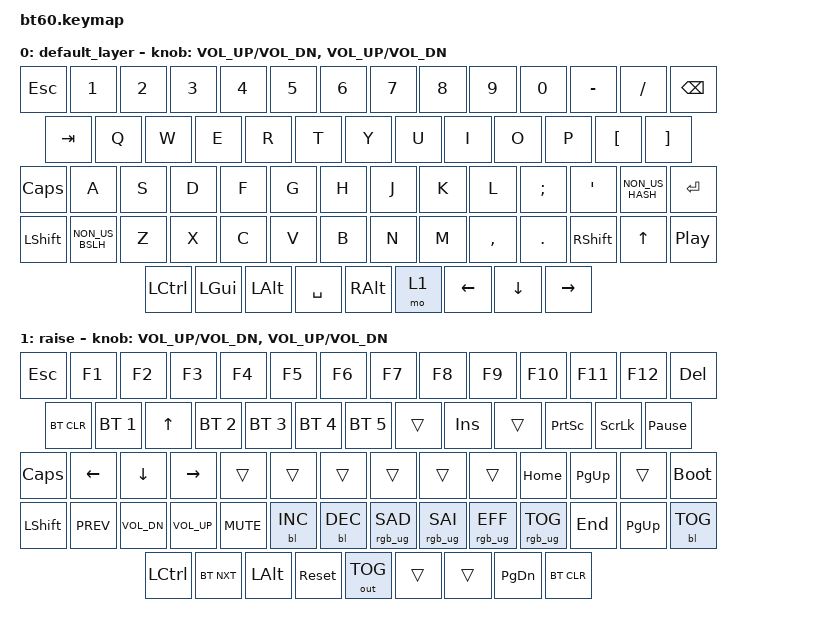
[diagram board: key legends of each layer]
#include <behaviors.dtsi>
#include <dt-bindings/zmk/keys.h>
#include <dt-bindings/zmk/bt.h>
#include <dt-bindings/zmk/rgb.h>
#include <dt-bindings/zmk/backlight.h>
#include <dt-bindings/zmk/outputs.h>

/ {
	keymap {
		compatible = "zmk,keymap";

		default_layer {
				// ------------------------------------------------------------------------------------------
				// |  ESC  |  1  |  2  |  3  |  4  |  5  |  6  |  7  |  8  |  9  |  0  |  +  |  -  | BKSP	|
				// | TAB  |  Q  |  W  |  E  |  R  |  T  |  Y  |  U  |  I  |  O  |  P  |  [  |  ]   |        |
				// | CAPS  |  A  |  S  |  D  |  F  |  G  |  H  |  J  |  K  |  L  |  Ö  |  Ä  |  '  | ENTER	|
				// |  SHIFT|  > |  Z  |  X  |  C  |  V  |  B  |  N  |  M  |  ,  |  .  | SHIFT | up | r.enc.	|
				// |  CTL  |  WIN  |  ALT  |            SPACE              | ALT | FN | left | down | right |
				// ------------------------------------------------------------------------------------------
			bindings = <

				&kp ESC &kp N1 &kp N2 &kp N3 &kp N4 &kp N5 &kp N6 &kp N7 &kp  N8   &kp  N9 &kp  N0  &kp MINUS &kp FSLH &kp BSPC
				&kp TAB  &kp Q  &kp W  &kp E  &kp R  &kp T  &kp Y  &kp U  &kp  I    &kp  O  &kp  P   &kp LBKT &kp RBKT
				&kp CAPS  &kp A  &kp S  &kp D  &kp F  &kp G  &kp H  &kp J  &kp  K    &kp  L  &kp SEMI &kp SQT &kp NON_US_HASH	  &kp RET
				&kp LSHFT &kp NON_US_BSLH &kp Z  &kp X  &kp C  &kp V  &kp B  &kp N  &kp M  &kp COMMA &kp DOT &kp RSHIFT	&kp UP &kp C_PP
				&kp LCTRL &kp LGUI &kp LALT            &kp SPACE                          &kp RALT  &mo 1 &kp LEFT &kp DOWN   &kp RIGHT
			>;
			sensor-bindings = <&inc_dec_kp C_VOL_UP C_VOL_DN &inc_dec_kp C_VOL_UP C_VOL_DN>;
		};
		raise {
			bindings = <
				&kp ESC &kp F1 &kp F2 &kp F3 &kp F4 &kp F5 &kp F6 &kp F7 &kp F8 &kp F9 &kp F10 &kp F11 &kp F12 &kp DEL
				&bt BT_CLR &bt BT_SEL 1 &kp UP &bt BT_SEL 2 &bt BT_SEL 3 &bt BT_SEL 4 &bt BT_SEL 5 &trans &kp INS &trans &kp PSCRN &kp SLCK &kp PAUSE_BREAK
				&kp CAPS    &kp LEFT &kp DOWN &kp RIGHT &trans &trans &trans &trans &trans &trans &kp HOME  &kp PG_UP &trans  &bootloader
				&kp LSHFT &kp C_PREV &kp C_VOL_DN &kp C_VOL_UP &kp C_MUTE &bl BL_INC &bl BL_DEC  &rgb_ug RGB_SAD &rgb_ug RGB_SAI &rgb_ug RGB_EFF &rgb_ug RGB_TOG &kp END &kp PG_UP  &bl BL_TOG
				&kp LCTRL &bt BT_NXT  &kp LALT              &sys_reset                            &out OUT_TOG &trans &trans   &kp PG_DN &bt BT_CLR
			>;
			sensor-bindings = <&inc_dec_kp C_VOL_UP C_VOL_DN &inc_dec_kp C_VOL_UP C_VOL_DN>;
		};
	};
};
